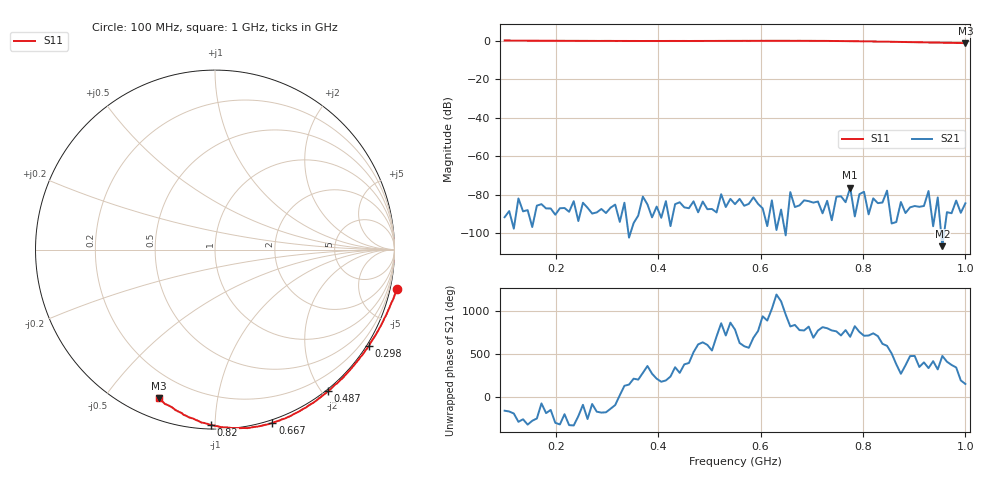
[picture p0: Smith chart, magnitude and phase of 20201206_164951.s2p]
# HZ S RI R 50
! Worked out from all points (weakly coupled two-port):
!   101 points, 100 MHz to 1 GHz, reference 50 ohm
!   highest |S21| = -76.47 dB at 775 MHz (marker M1); lowest = -106.9 dB at 955 MHz (marker M2)
!   lowest |S11| = -1.1 dB at 1 GHz (marker M3), VSWR 16.20, Z = 4.55 - j34.4 ohm
!   |S11| at or under -10 dB: nowhere
!   S12 and S22 are empty: the file has one direction only
!   S11 on the Smith chart (normalised r, x): 100 MHz: -1.64, -9.05; 298 MHz: -0.07, -3.48; 487 MHz: -0.02, -2.08; 667 MHz: -0.02, -1.38; 820 MHz: 0.02, -0.98; 1 GHz: 0.09, -0.69
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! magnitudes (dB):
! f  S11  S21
! 100 MHz  0.3  -91.8
! 253 MHz  0.1  -84.3
! 298 MHz  0.1  -89.6
! 406 MHz  0.1  -92.1
! 487 MHz  0.1  -83.6
! 550 MHz  0.1  -85.0
! 658 MHz  0.1  -78.7
! 667 MHz  0.1  -86.5
! 703 MHz  0.1  -84.2
! 766 MHz  0.0  -84.0
! 775 MHz  0.0  -76.5
! 784 MHz  -0.1  -91.4
! 802 MHz  -0.1  -78.6
! 820 MHz  -0.2  -82.0
! 838 MHz  -0.3  -84.2
! 847 MHz  -0.3  -78.0
! 856 MHz  -0.4  -95.1
! 919 MHz  -0.7  -86.0
! 928 MHz  -0.7  -78.2
! 937 MHz  -0.8  -96.5
! 955 MHz  -0.9  -106.9
! 1 GHz  -1.1  -84.6
